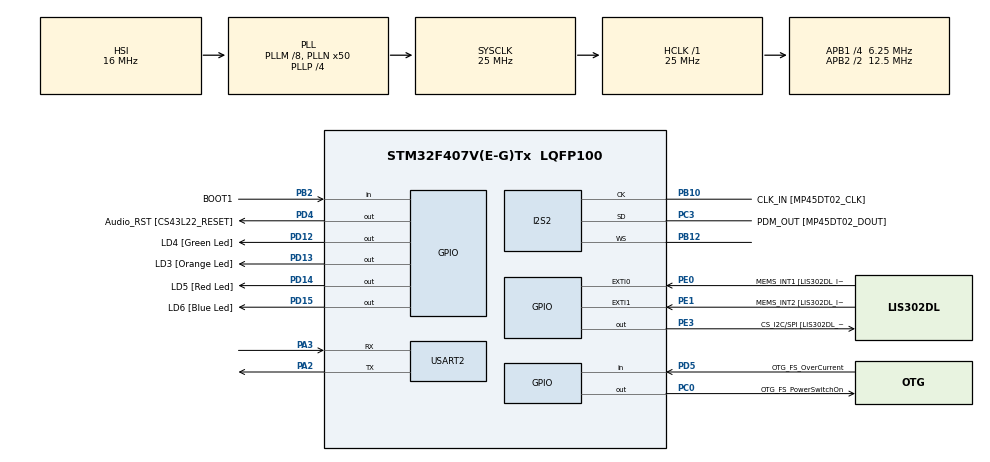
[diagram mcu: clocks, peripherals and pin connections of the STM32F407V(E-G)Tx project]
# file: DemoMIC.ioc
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I2S2.ErrorAudioFreq=0.8 %
I2S2.Mode=I2S_MODE_MASTER_RX
I2S2.RealAudioFreq=193.548 KHz
Mcu.Family=STM32F4
Mcu.Name=STM32F407V(E-G)Tx
Mcu.Package=LQFP100
NVIC.PriorityGroup=NVIC_PRIORITYGROUP_0
PA10.GPIO_Label=OTG_FS_ID
PA10.GPIO_Mode=GPIO_MODE_AF_PP
PA10.GPIO_PuPd=GPIO_NOPULL
PA10.GPIO_Speed=GPIO_SPEED_FREQ_LOW
PA10.Signal=USB_OTG_FS_ID
PA11.GPIO_Label=OTG_FS_DM
PA11.GPIO_Mode=GPIO_MODE_AF_PP
PA11.GPIO_PuPd=GPIO_NOPULL
PA11.GPIO_Speed=GPIO_SPEED_FREQ_LOW
PA11.Signal=USB_OTG_FS_DM
PA12.GPIO_Label=OTG_FS_DP
PA12.GPIO_Mode=GPIO_MODE_AF_PP
PA12.GPIO_PuPd=GPIO_NOPULL
PA12.GPIO_Speed=GPIO_SPEED_FREQ_LOW
PA12.Signal=USB_OTG_FS_DP
PA13.GPIO_Label=SWDIO
PA13.Signal=SYS_JTMS-SWDIO
PA14.GPIO_Label=SWCLK
PA14.Signal=SYS_JTCK-SWCLK
PA2.Mode=Asynchronous
PA2.Signal=USART2_TX
PA3.Mode=Asynchronous
PA3.Signal=USART2_RX
PA4.GPIO_Label=I2S3_WS [CS43L22_LRCK]
PA4.GPIO_Mode=GPIO_MODE_AF_PP
PA4.GPIO_PuPd=GPIO_NOPULL
PA4.GPIO_Speed=GPIO_SPEED_FREQ_LOW
PA4.Signal=I2S3_WS
PA5.GPIO_Label=SPI1_SCK [LIS302DL_SCL/SPC]
PA5.GPIO_Mode=GPIO_MODE_AF_PP
PA5.GPIO_PuPd=GPIO_NOPULL
PA5.GPIO_Speed=GPIO_SPEED_FREQ_LOW
PA5.Signal=SPI1_SCK
PA6.GPIO_Label=SPI1_MISO [LIS302DL_SDO]
PA6.GPIO_Mode=GPIO_MODE_AF_PP
PA6.GPIO_PuPd=GPIO_NOPULL
PA6.GPIO_Speed=GPIO_SPEED_FREQ_LOW
PA6.Signal=SPI1_MISO
PA7.GPIO_Label=SPI1_MOSI [LIS302DL_SDA/SDI/SDO]
PA7.GPIO_Mode=GPIO_MODE_AF_PP
PA7.GPIO_PuPd=GPIO_NOPULL
PA7.GPIO_Speed=GPIO_SPEED_FREQ_LOW
PA7.Signal=SPI1_MOSI
PA9.GPIO_Label=VBUS_FS
PA9.GPIO_Mode=GPIO_MODE_INPUT
PA9.GPIO_PuPd=GPIO_NOPULL
PA9.Signal=USB_OTG_FS_VBUS
PB10.GPIO_Label=CLK_IN [MP45DT02_CLK]
PB10.GPIO_Mode=GPIO_MODE_AF_PP
PB10.GPIO_PuPd=GPIO_NOPULL
PB10.GPIO_Speed=GPIO_SPEED_FREQ_LOW
PB10.Mode=Half_Duplex_Master
PB10.Signal=I2S2_CK
PB12.Mode=Half_Duplex_Master
PB12.Signal=I2S2_WS
PB2.GPIO_Label=BOOT1
PB2.GPIO_Mode=GPIO_MODE_INPUT
PB2.GPIO_PuPd=GPIO_NOPULL
PB2.Signal=GPIO_Input
PB3.GPIO_Label=SWO
PB3.Signal=SYS_JTDO-SWO
PB6.GPIO_Label=Audio_SCL [CS43L22_SCL]
PB6.GPIO_Mode=GPIO_MODE_AF_OD
PB6.GPIO_PuPd=GPIO_NOPULL
PB6.GPIO_Speed=GPIO_SPEED_FREQ_LOW
PB6.Signal=I2C1_SCL
PB9.GPIO_Label=Audio_SDA [CS43L22_SDA]
PB9.GPIO_Mode=GPIO_MODE_AF_OD
PB9.GPIO_PuPd=GPIO_NOPULL
PB9.GPIO_Speed=GPIO_SPEED_FREQ_LOW
PB9.Signal=I2C1_SDA
PC0.GPIO_Label=OTG_FS_PowerSwitchOn
PC0.GPIO_PuPd=GPIO_NOPULL
PC0.GPIO_Speed=GPIO_SPEED_FREQ_LOW
PC0.PinState=GPIO_PIN_SET
PC0.Signal=GPIO_Output
PC10.GPIO_Label=I2S3_SCK [CS43L22_SCLK]
PC10.GPIO_Mode=GPIO_MODE_AF_PP
PC10.GPIO_PuPd=GPIO_NOPULL
PC10.GPIO_Speed=GPIO_SPEED_FREQ_LOW
PC10.Signal=I2S3_CK
PC12.GPIO_Label=I2S3_SD [CS43L22_SDIN]
PC12.GPIO_Mode=GPIO_MODE_AF_PP
PC12.GPIO_PuPd=GPIO_NOPULL
PC12.GPIO_Speed=GPIO_SPEED_FREQ_LOW
PC12.Signal=I2S3_SD
PC14-OSC32_IN.GPIO_Label=PC14-OSC32_IN
PC14-OSC32_IN.Signal=RCC_OSC32_IN
PC15-OSC32_OUT.GPIO_Label=PC15-OSC32_OUT
PC15-OSC32_OUT.Signal=RCC_OSC32_OUT
PC3.GPIO_Label=PDM_OUT [MP45DT02_DOUT]
PC3.GPIO_Mode=GPIO_MODE_AF_PP
PC3.GPIO_PuPd=GPIO_NOPULL
PC3.GPIO_Speed=GPIO_SPEED_FREQ_LOW
PC3.Mode=Half_Duplex_Master
PC3.Signal=I2S2_SD
PC7.GPIO_Label=I2S3_MCK [CS43L22_MCLK]
PC7.GPIO_Mode=GPIO_MODE_AF_PP
PC7.GPIO_PuPd=GPIO_NOPULL
PC7.GPIO_Speed=GPIO_SPEED_FREQ_LOW
PC7.Signal=I2S3_MCK
PD12.GPIO_Label=LD4 [Green Led]
PD12.GPIO_PuPd=GPIO_NOPULL
PD12.GPIO_Speed=GPIO_SPEED_FREQ_LOW
PD12.Signal=GPIO_Output
PD13.GPIO_Label=LD3 [Orange Led]
PD13.GPIO_PuPd=GPIO_NOPULL
PD13.GPIO_Speed=GPIO_SPEED_FREQ_LOW
PD13.Signal=GPIO_Output
PD14.GPIO_Label=LD5 [Red Led]
PD14.GPIO_PuPd=GPIO_NOPULL
PD14.GPIO_Speed=GPIO_SPEED_FREQ_LOW
PD14.Signal=GPIO_Output
PD15.GPIO_Label=LD6 [Blue Led]
PD15.GPIO_PuPd=GPIO_NOPULL
PD15.GPIO_Speed=GPIO_SPEED_FREQ_LOW
PD15.Signal=GPIO_Output
PD4.GPIO_Label=Audio_RST [CS43L22_RESET]
PD4.GPIO_PuPd=GPIO_NOPULL
PD4.GPIO_Speed=GPIO_SPEED_FREQ_LOW
PD4.Signal=GPIO_Output
PD5.GPIO_Label=OTG_FS_OverCurrent
PD5.GPIO_Mode=GPIO_MODE_INPUT
PD5.GPIO_PuPd=GPIO_NOPULL
PD5.Signal=GPIO_Input
PE0.GPIO_Label=MEMS_INT1 [LIS302DL_INT1]
PE0.Signal=GPXTI0
PE1.GPIO_Label=MEMS_INT2 [LIS302DL_INT2]
PE1.GPIO_ModeDefaultEXTI=GPIO_MODE_EVT_RISING
PE1.GPIO_PuPd=GPIO_NOPULL
PE1.Signal=GPXTI1
PE3.GPIO_Label=CS_I2C/SPI [LIS302DL_CS_I2C/SPI]
PE3.GPIO_PuPd=GPIO_NOPULL
PE3.GPIO_Speed=GPIO_SPEED_FREQ_LOW
PE3.Signal=GPIO_Output
PH0-OSC_IN.GPIO_Label=PH0-OSC_IN
PH0-OSC_IN.Signal=RCC_OSC_IN
PH1-OSC_OUT.GPIO_Label=PH1-OSC_OUT
PH1-OSC_OUT.Signal=RCC_OSC_OUT
ProjectManager.HeapSize=0x200
ProjectManager.StackSize=0x400
ProjectManager.TargetToolchain=SW4STM32
RCC.48MHZClocksFreq_Value=14285714.285714285
RCC.AHBFreq_Value=25000000
RCC.APB1CLKDivider=RCC_HCLK_DIV4
RCC.APB1Freq_Value=6250000
RCC.APB1TimFreq_Value=12500000
RCC.APB2CLKDivider=RCC_HCLK_DIV2
RCC.APB2Freq_Value=12500000
RCC.APB2TimFreq_Value=25000000
RCC.CortexFreq_Value=25000000
RCC.HCLKFreq_Value=25000000
RCC.HSE_VALUE=8000000
RCC.HSI_VALUE=16000000
RCC.LSE_VALUE=32768
RCC.PLLM=8
RCC.PLLN=50
RCC.PLLP=RCC_PLLP_DIV4
RCC.PLLQ=7
RCC.SYSCLKFreq_VALUE=25000000
RCC.SYSCLKSource=RCC_SYSCLKSOURCE_PLLCLK
RCC.VCOOutputFreq_Value=100000000
board=STM32F407G-DISC1

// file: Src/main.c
/**
  ******************************************************************************
  * File Name          : main.c
  * Description        : Main program body
  ******************************************************************************
  *
  * COPYRIGHT(c) 2016 STMicroelectronics
  *
  * Redistribution and use in source and binary forms, with or without modification,
  * are permitted provided that the following conditions are met:
  *   1. Redistributions of source code must retain the above copyright notice,
  *      this list of conditions and the following disclaimer.
  *   2. Redistributions in binary form must reproduce the above copyright notice,
  *      this list of conditions and the following disclaimer in the documentation
  *      and/or other materials provided with the distribution.
  *   3. Neither the name of STMicroelectronics nor the names of its contributors
  *      may be used to endorse or promote products derived from this software
  *      without specific prior written permission.
  *
  * THIS SOFTWARE IS PROVIDED BY THE COPYRIGHT HOLDERS AND CONTRIBUTORS "AS IS"
  * AND ANY EXPRESS OR IMPLIED WARRANTIES, INCLUDING, BUT NOT LIMITED TO, THE
  * IMPLIED WARRANTIES OF MERCHANTABILITY AND FITNESS FOR A PARTICULAR PURPOSE ARE
  * DISCLAIMED. IN NO EVENT SHALL THE COPYRIGHT HOLDER OR CONTRIBUTORS BE LIABLE
  * FOR ANY DIRECT, INDIRECT, INCIDENTAL, SPECIAL, EXEMPLARY, OR CONSEQUENTIAL
  * DAMAGES (INCLUDING, BUT NOT LIMITED TO, PROCUREMENT OF SUBSTITUTE GOODS OR
  * SERVICES; LOSS OF USE, DATA, OR PROFITS; OR BUSINESS INTERRUPTION) HOWEVER
  * CAUSED AND ON ANY THEORY OF LIABILITY, WHETHER IN CONTRACT, STRICT LIABILITY,
  * OR TORT (INCLUDING NEGLIGENCE OR OTHERWISE) ARISING IN ANY WAY OUT OF THE USE
  * OF THIS SOFTWARE, EVEN IF ADVISED OF THE POSSIBILITY OF SUCH DAMAGE.
  *
  ******************************************************************************
  */
#include "stm32f4xx_hal.h"
#include <string.h>

I2S_HandleTypeDef hi2s2;

UART_HandleTypeDef huart2;

/* USER CODE BEGIN PV */
/* Private variables ---------------------------------------------------------*/

/* USER CODE END PV */

void SystemClock_Config(void);
void Error_Handler(void);
static void MX_GPIO_Init(void);
static void MX_I2S2_Init(void);
static void MX_USART2_UART_Init(void);

/* USER CODE BEGIN PFP */
/* Private function prototypes -----------------------------------------------*/

/* USER CODE END PFP */

/* USER CODE BEGIN 0 */

float float_abs(float in){
	return in < 0 ? -in : in;
}

#define PDM_BUFFER_SIZE 20
#define LEAKY_KEEP_RATE 0.95
#define UART_DEBUG_TICK_RATE 100
#define PDM_BLOCK_SIZE_BITS 16

/* USER CODE END 0 */

int main(void)
{

  /* USER CODE BEGIN 1 */
  uint8_t i;

  uint16_t pdm_buffer[PDM_BUFFER_SIZE]; // Buffer for pdm value from hi2s2 (Mic)
  uint16_t pdm_value=0;
  uint8_t  pcm_value=0;                 // For keeping pcm value calculated from pdm_value
                                        // value range is 0-16, 8-bit is chosen because it
                                        // can store 0-255
  uint32_t last_tick = HAL_GetTick();
  uint32_t this_tick;

  char uart_temp_display_buffer[16];

  float leaky_pcm_buffer = 0.0;         // Fast Estimation of moving average of PDM
  float leaky_amp_buffer = 0.0;         // Fast Estimation of moving average of abs(PCM)

  /* USER CODE END 1 */

  /* MCU Configuration----------------------------------------------------------*/

  /* Reset of all peripherals, Initializes the Flash interface and the Systick. */
  HAL_Init();

  /* Configure the system clock */
  SystemClock_Config();

  /* Initialize all configured peripherals */
  MX_GPIO_Init();
  MX_I2S2_Init();
  MX_USART2_UART_Init();

  /* Infinite loop */
  /* USER CODE BEGIN WHILE */
  while (1)
  {
    HAL_I2S_Receive(&hi2s2, pdm_buffer, PDM_BUFFER_SIZE, 1000); // Receive PDM from Mic
  /* USER CODE END WHILE */

  /* USER CODE BEGIN 3 */
    for(i=0; i<PDM_BUFFER_SIZE; i++){
      pcm_value = -PDM_BLOCK_SIZE_BITS/2;
      pdm_value = pdm_buffer[i];
      // calculate PCM value
      while ( pdm_value != 0 )                     // while pdm_value still have 1s in binary
      {
        pcm_value ++;
        pdm_value ^= pdm_value & -pdm_value;       // remove left most 1 in binary
      }
      leaky_pcm_buffer += pcm_value;
      leaky_pcm_buffer *= LEAKY_KEEP_RATE;
      leaky_amp_buffer += float_abs(leaky_pcm_buffer);
      leaky_amp_buffer *= LEAKY_KEEP_RATE;
    }

    this_tick = HAL_GetTick();
    if(this_tick - last_tick > UART_DEBUG_TICK_RATE){
      last_tick = this_tick;
      sprintf(uart_temp_display_buffer, "L : %d\n", (int)leaky_amp_buffer);
      // send UART for visualization
      HAL_UART_Transmit(
        &huart2,
		(uint8_t*)uart_temp_display_buffer,
        strlen(uart_temp_display_buffer),
        100);
    }
  }
  /* USER CODE END 3 */

}

/** System Clock Configuration
*/
void SystemClock_Config(void)
{

  RCC_OscInitTypeDef RCC_OscInitStruct;
  RCC_ClkInitTypeDef RCC_ClkInitStruct;
  RCC_PeriphCLKInitTypeDef PeriphClkInitStruct;

  __HAL_RCC_PWR_CLK_ENABLE();

  __HAL_PWR_VOLTAGESCALING_CONFIG(PWR_REGULATOR_VOLTAGE_SCALE1);

  RCC_OscInitStruct.OscillatorType = RCC_OSCILLATORTYPE_HSI;
  RCC_OscInitStruct.HSIState = RCC_HSI_ON;
  RCC_OscInitStruct.HSICalibrationValue = 16;
  RCC_OscInitStruct.PLL.PLLState = RCC_PLL_ON;
  RCC_OscInitStruct.PLL.PLLSource = RCC_PLLSOURCE_HSI;
  RCC_OscInitStruct.PLL.PLLM = 8;
  RCC_OscInitStruct.PLL.PLLN = 50;
  RCC_OscInitStruct.PLL.PLLP = RCC_PLLP_DIV4;
  RCC_OscInitStruct.PLL.PLLQ = 7;
  if (HAL_RCC_OscConfig(&RCC_OscInitStruct) != HAL_OK)
  {
    Error_Handler();
  }

  RCC_ClkInitStruct.ClockType = RCC_CLOCKTYPE_HCLK|RCC_CLOCKTYPE_SYSCLK
                              |RCC_CLOCKTYPE_PCLK1|RCC_CLOCKTYPE_PCLK2;
  RCC_ClkInitStruct.SYSCLKSource = RCC_SYSCLKSOURCE_PLLCLK;
  RCC_ClkInitStruct.AHBCLKDivider = RCC_SYSCLK_DIV1;
  RCC_ClkInitStruct.APB1CLKDivider = RCC_HCLK_DIV4;
  RCC_ClkInitStruct.APB2CLKDivider = RCC_HCLK_DIV2;
  if (HAL_RCC_ClockConfig(&RCC_ClkInitStruct, FLASH_LATENCY_0) != HAL_OK)
  {
    Error_Handler();
  }

  PeriphClkInitStruct.PeriphClockSelection = RCC_PERIPHCLK_I2S;
  PeriphClkInitStruct.PLLI2S.PLLI2SN = 192;
  PeriphClkInitStruct.PLLI2S.PLLI2SR = 2;
  if (HAL_RCCEx_PeriphCLKConfig(&PeriphClkInitStruct) != HAL_OK)
  {
    Error_Handler();
  }

  HAL_SYSTICK_Config(HAL_RCC_GetHCLKFreq()/1000);

  HAL_SYSTICK_CLKSourceConfig(SYSTICK_CLKSOURCE_HCLK);

  /* SysTick_IRQn interrupt configuration */
  HAL_NVIC_SetPriority(SysTick_IRQn, 0, 0);
}

/* I2S2 init function */
static void MX_I2S2_Init(void)
{

  hi2s2.Instance = SPI2;
  hi2s2.Init.Mode = I2S_MODE_MASTER_RX;
  hi2s2.Init.Standard = I2S_STANDARD_PHILIPS;
  hi2s2.Init.DataFormat = I2S_DATAFORMAT_16B;
  hi2s2.Init.MCLKOutput = I2S_MCLKOUTPUT_DISABLE;
  hi2s2.Init.AudioFreq = I2S_AUDIOFREQ_192K;
  hi2s2.Init.CPOL = I2S_CPOL_LOW;
  hi2s2.Init.ClockSource = I2S_CLOCK_PLL;
  hi2s2.Init.FullDuplexMode = I2S_FULLDUPLEXMODE_DISABLE;
  if (HAL_I2S_Init(&hi2s2) != HAL_OK)
  {
    Error_Handler();
  }

}

/* USART2 init function */
static void MX_USART2_UART_Init(void)
{

  huart2.Instance = USART2;
  huart2.Init.BaudRate = 115200;
  huart2.Init.WordLength = UART_WORDLENGTH_8B;
  huart2.Init.StopBits = UART_STOPBITS_1;
  huart2.Init.Parity = UART_PARITY_NONE;
  huart2.Init.Mode = UART_MODE_TX_RX;
  huart2.Init.HwFlowCtl = UART_HWCONTROL_NONE;
  huart2.Init.OverSampling = UART_OVERSAMPLING_16;
  if (HAL_UART_Init(&huart2) != HAL_OK)
  {
    Error_Handler();
  }

}

/** Configure pins as
        * Analog
        * Input
        * Output
        * EVENT_OUT
        * EXTI
     PA4   ------> I2S3_WS
     PA5   ------> SPI1_SCK
     PA6   ------> SPI1_MISO
     PA7   ------> SPI1_MOSI
     PC7   ------> I2S3_MCK
     PA9   ------> USB_OTG_FS_VBUS
     PA10   ------> USB_OTG_FS_ID
     PA11   ------> USB_OTG_FS_DM
     PA12   ------> USB_OTG_FS_DP
     PC10   ------> I2S3_CK
     PC12   ------> I2S3_SD
     PB6   ------> I2C1_SCL
     PB9   ------> I2C1_SDA
*/
static void MX_GPIO_Init(void)
{

  GPIO_InitTypeDef GPIO_InitStruct;

  /* GPIO Ports Clock Enable */
  __HAL_RCC_GPIOE_CLK_ENABLE();
  __HAL_RCC_GPIOC_CLK_ENABLE();
  __HAL_RCC_GPIOH_CLK_ENABLE();
  __HAL_RCC_GPIOA_CLK_ENABLE();
  __HAL_RCC_GPIOB_CLK_ENABLE();
  __HAL_RCC_GPIOD_CLK_ENABLE();

  /*Configure GPIO pin Output Level */
  HAL_GPIO_WritePin(CS_I2C_SPI_GPIO_Port, CS_I2C_SPI_Pin, GPIO_PIN_RESET);

  /*Configure GPIO pin Output Level */
  HAL_GPIO_WritePin(OTG_FS_PowerSwitchOn_GPIO_Port, OTG_FS_PowerSwitchOn_Pin, GPIO_PIN_SET);

  /*Configure GPIO pin Output Level */
  HAL_GPIO_WritePin(GPIOD, LD4_Pin|LD3_Pin|LD5_Pin|LD6_Pin
                          |Audio_RST_Pin, GPIO_PIN_RESET);

  /*Configure GPIO pin : CS_I2C_SPI_Pin */
  GPIO_InitStruct.Pin = CS_I2C_SPI_Pin;
  GPIO_InitStruct.Mode = GPIO_MODE_OUTPUT_PP;
  GPIO_InitStruct.Pull = GPIO_NOPULL;
  GPIO_InitStruct.Speed = GPIO_SPEED_FREQ_LOW;
  HAL_GPIO_Init(CS_I2C_SPI_GPIO_Port, &GPIO_InitStruct);

  /*Configure GPIO pin : OTG_FS_PowerSwitchOn_Pin */
  GPIO_InitStruct.Pin = OTG_FS_PowerSwitchOn_Pin;
  GPIO_InitStruct.Mode = GPIO_MODE_OUTPUT_PP;
  GPIO_InitStruct.Pull = GPIO_NOPULL;
  GPIO_InitStruct.Speed = GPIO_SPEED_FREQ_LOW;
  HAL_GPIO_Init(OTG_FS_PowerSwitchOn_GPIO_Port, &GPIO_InitStruct);

  /*Configure GPIO pin : PA4 */
  GPIO_InitStruct.Pin = GPIO_PIN_4;
  GPIO_InitStruct.Mode = GPIO_MODE_AF_PP;
  GPIO_InitStruct.Pull = GPIO_NOPULL;
  GPIO_InitStruct.Speed = GPIO_SPEED_FREQ_LOW;
  GPIO_InitStruct.Alternate = GPIO_AF6_SPI3;
  HAL_GPIO_Init(GPIOA, &GPIO_InitStruct);

  /*Configure GPIO pins : PA5 PA6 PA7 */
  GPIO_InitStruct.Pin = GPIO_PIN_5|GPIO_PIN_6|GPIO_PIN_7;
  GPIO_InitStruct.Mode = GPIO_MODE_AF_PP;
  GPIO_InitStruct.Pull = GPIO_NOPULL;
  GPIO_InitStruct.Speed = GPIO_SPEED_FREQ_LOW;
  GPIO_InitStruct.Alternate = GPIO_AF5_SPI1;
  HAL_GPIO_Init(GPIOA, &GPIO_InitStruct);

  /*Configure GPIO pin : BOOT1_Pin */
  GPIO_InitStruct.Pin = BOOT1_Pin;
  GPIO_InitStruct.Mode = GPIO_MODE_INPUT;
  GPIO_InitStruct.Pull = GPIO_NOPULL;
  HAL_GPIO_Init(BOOT1_GPIO_Port, &GPIO_InitStruct);

  /*Configure GPIO pins : LD4_Pin LD3_Pin LD5_Pin LD6_Pin
                           Audio_RST_Pin */
  GPIO_InitStruct.Pin = LD4_Pin|LD3_Pin|LD5_Pin|LD6_Pin
                          |Audio_RST_Pin;
  GPIO_InitStruct.Mode = GPIO_MODE_OUTPUT_PP;
  GPIO_InitStruct.Pull = GPIO_NOPULL;
  GPIO_InitStruct.Speed = GPIO_SPEED_FREQ_LOW;
  HAL_GPIO_Init(GPIOD, &GPIO_InitStruct);

  /*Configure GPIO pins : PC7 I2S3_SCK_Pin PC12 */
  GPIO_InitStruct.Pin = GPIO_PIN_7|I2S3_SCK_Pin|GPIO_PIN_12;
  GPIO_InitStruct.Mode = GPIO_MODE_AF_PP;
  GPIO_InitStruct.Pull = GPIO_NOPULL;
  GPIO_InitStruct.Speed = GPIO_SPEED_FREQ_LOW;
  GPIO_InitStruct.Alternate = GPIO_AF6_SPI3;
  HAL_GPIO_Init(GPIOC, &GPIO_InitStruct);

  /*Configure GPIO pin : VBUS_FS_Pin */
  GPIO_InitStruct.Pin = VBUS_FS_Pin;
  GPIO_InitStruct.Mode = GPIO_MODE_INPUT;
  GPIO_InitStruct.Pull = GPIO_NOPULL;
  HAL_GPIO_Init(VBUS_FS_GPIO_Port, &GPIO_InitStruct);

  /*Configure GPIO pins : OTG_FS_ID_Pin OTG_FS_DM_Pin OTG_FS_DP_Pin */
  GPIO_InitStruct.Pin = OTG_FS_ID_Pin|OTG_FS_DM_Pin|OTG_FS_DP_Pin;
  GPIO_InitStruct.Mode = GPIO_MODE_AF_PP;
  GPIO_InitStruct.Pull = GPIO_NOPULL;
  GPIO_InitStruct.Speed = GPIO_SPEED_FREQ_LOW;
  GPIO_InitStruct.Alternate = GPIO_AF10_OTG_FS;
  HAL_GPIO_Init(GPIOA, &GPIO_InitStruct);

  /*Configure GPIO pin : OTG_FS_OverCurrent_Pin */
  GPIO_InitStruct.Pin = OTG_FS_OverCurrent_Pin;
  GPIO_InitStruct.Mode = GPIO_MODE_INPUT;
  GPIO_InitStruct.Pull = GPIO_NOPULL;
  HAL_GPIO_Init(OTG_FS_OverCurrent_GPIO_Port, &GPIO_InitStruct);

  /*Configure GPIO pins : Audio_SCL_Pin Audio_SDA_Pin */
  GPIO_InitStruct.Pin = Audio_SCL_Pin|Audio_SDA_Pin;
  GPIO_InitStruct.Mode = GPIO_MODE_AF_OD;
  GPIO_InitStruct.Pull = GPIO_PULLUP;
  GPIO_InitStruct.Speed = GPIO_SPEED_FREQ_LOW;
  GPIO_InitStruct.Alternate = GPIO_AF4_I2C1;
  HAL_GPIO_Init(GPIOB, &GPIO_InitStruct);

  /*Configure GPIO pin : MEMS_INT1_Pin */
  GPIO_InitStruct.Pin = MEMS_INT1_Pin;
  GPIO_InitStruct.Mode = GPIO_MODE_IT_RISING;
  GPIO_InitStruct.Pull = GPIO_NOPULL;
  HAL_GPIO_Init(MEMS_INT1_GPIO_Port, &GPIO_InitStruct);

  /*Configure GPIO pin : MEMS_INT2_Pin */
  GPIO_InitStruct.Pin = MEMS_INT2_Pin;
  GPIO_InitStruct.Mode = GPIO_MODE_EVT_RISING;
  GPIO_InitStruct.Pull = GPIO_NOPULL;
  HAL_GPIO_Init(MEMS_INT2_GPIO_Port, &GPIO_InitStruct);

}

void Error_Handler(void)
{
  while(1)
  {
  }
}

/************************ (C) COPYRIGHT STMicroelectronics *****END OF FILE****/
